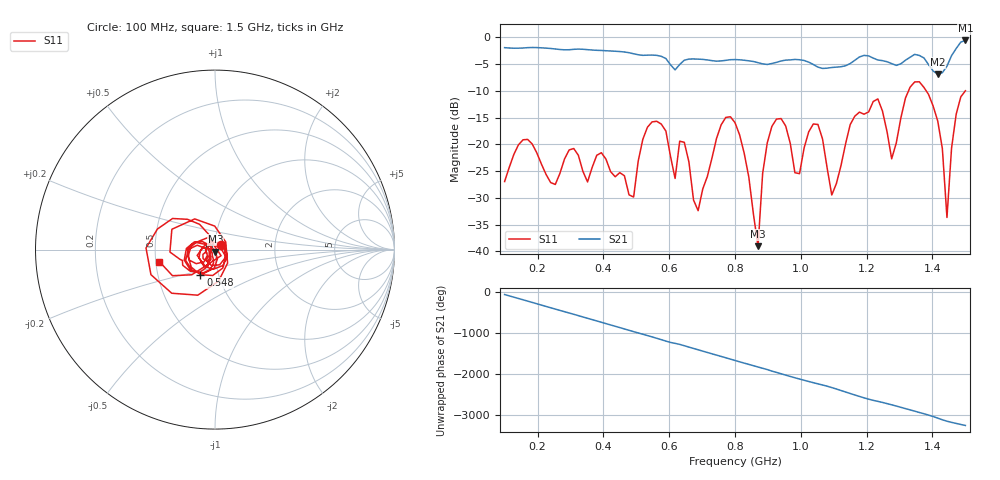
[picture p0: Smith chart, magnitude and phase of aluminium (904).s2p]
! NanoVNA-App
! Date: 2025-09-25 15:02:19
! Start: 100MHz Stop: 1,5GHz Points: 101
! S-Parameter data: F S11 S21 S12 S22
# Hz S RI R 50
!  Frequency  S11_Real  S11_Imag  S21_Real  S21_Imag  S12_Real  S12_Imag  S22_Real  S22_Imag
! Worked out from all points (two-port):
!   101 points, 100 MHz to 1.5 GHz, reference 50 ohm
!   highest |S21| = -0.58 dB at 1.5 GHz (marker M1); lowest = -6.9 dB at 1.416 GHz (marker M2)
!   |S21| within 3 dB of the highest: start of sweep to 577.2 MHz; 1.457 GHz to end of sweep (the widest 2 of 4)
!   lowest |S11| = -39.0 dB at 870 MHz (marker M3), VSWR 1.02, Z = 50.3 - j1.09 ohm
!   |S11| at or under -10 dB: start of sweep to 1.327 GHz; 1.381 GHz to 1.5 GHz (118.9 MHz wide, 8.25 % of centre)
!   S12 and S22 are empty: the file has one direction only
!   S11 on the Smith chart (normalised r, x): 100 MHz: 1.07, +0.06; 548 MHz: 0.82, -0.24; 1.5 GHz: 0.52, -0.08
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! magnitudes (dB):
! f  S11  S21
! 100 MHz  -27.0  -1.9
! 156 MHz  -19.2  -2.0
! 338 MHz  -25.1  -2.2
! 492 MHz  -29.9  -3.1
! 548 MHz  -15.8  -3.3
! 576 MHz  -16.2  -3.5
! 618 MHz  -26.4  -6.1
! 646 MHz  -19.6  -4.3
! 688 MHz  -32.4  -4.1
! 800 MHz  -15.9  -4.2
! 870 MHz  -39.0  -4.7
! 912 MHz  -16.6  -4.9
! 996 MHz  -25.5  -4.2
! 1.038 GHz  -16.2  -5.1
! 1.094 GHz  -29.5  -5.6
! 1.22 GHz  -12.0  -3.9
! 1.276 GHz  -22.7  -4.9
! 1.346 GHz  -8.3  -3.2
! 1.416 GHz  -15.7  -6.9
! 1.444 GHz  -33.7  -5.4
! 1.472 GHz  -14.4  -2.1
! 1.5 GHz  -10.0  -0.6
